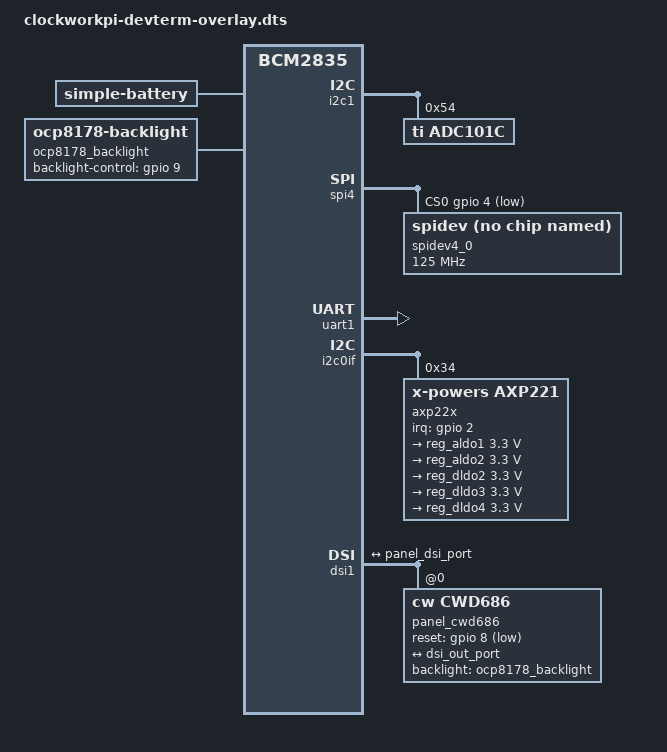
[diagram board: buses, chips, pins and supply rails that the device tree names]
/dts-v1/;
/plugin/;

/{
	compatible = "brcm,bcm2835";

	fragment@0 {
		target = <&i2c1>;
		__overlay__ {
			#address-cells = <1>;
			#size-cells = <0>;
			pinctrl-names = "default";
			pinctrl-0 = <&i2c1_pins>;
			status = "okay";

			adc101c: adc@54 {
				reg = <0x54>;
				compatible = "ti,adc101c";
				status = "okay";
			};
		};
	};

	fragment@1 {
		target = <&spi4>;
		__overlay__ {
			pinctrl-names = "default";
			pinctrl-0 = <&spi4_pins &spi4_cs_pins>;
			cs-gpios = <&gpio 4 1>;
			status = "okay";

			spidev4_0: spidev@0 {
				compatible = "spidev";
				reg = <0>;      /* CE0 */
				#address-cells = <1>;
				#size-cells = <0>;
				spi-max-frequency = <125000000>;
				status = "okay";
			};
		};
	};

	fragment@2 {
		target = <&uart1>;
		__overlay__ {
			pinctrl-names = "default";
			pinctrl-0 = <&uart1_pins>;
			status = "okay";
		};
	};

	fragment@3 {
		target = <&gpio>;
		__overlay__ {

			i2c1_pins: i2c1 {
				brcm,pins = <44 45>;
				brcm,function = <6>;
			};

			spi4_pins: spi4_pins {
				brcm,pins = <6 7>;
				brcm,function = <7>;
			};

			spi4_cs_pins: spi0_cs_pins {
				brcm,pins = <4>;
				brcm,function = <1>;
			};

			uart1_pins: uart1_pins {
				brcm,pins = <14 15>;
				brcm,function = <2>;
				brcm,pull = <0 2>;
			};

		};
	};

	fragment@4 {
		target-path = "/chosen";
		__overlay__ {
			bootargs = "8250.nr_uarts=1";
		};
	};
	
	fragment@5 {
		target = <&pcie0>;
		__overlay__ {
			status = "disabled";
		};
	};

	fragment@6 {
		target = <&genet>;
		__overlay__ {
			status = "disabled";
		};
	};

	fragment@7 {
		target = <&i2c0if>;
		__overlay__ {
			#address-cells = <1>;
			#size-cells = <0>;
			pinctrl-0 = <&i2c0_pins>;
			pinctrl-names = "default";
			status = "okay";

			axp22x: pmic@34 {
				interrupt-controller;
				#interrupt-cells = <1>;
				compatible = "x-powers,axp221";
				reg = <0x34>; /* i2c address */
				interrupt-parent = <&gpio>;
				interrupts = <2 8>;  /* IRQ_TYPE_EDGE_FALLING */
				irq-gpios = <&gpio 2 0>;

				regulators {

					x-powers,dcdc-freq = <3000>;

					reg_aldo1: aldo1 {
						regulator-always-on;
						regulator-min-microvolt = <3300000>;
						regulator-max-microvolt = <3300000>;
						regulator-name = "audio-vdd";
					};

					reg_aldo2: aldo2 {
						regulator-always-on;
						regulator-min-microvolt = <3300000>;
						regulator-max-microvolt = <3300000>;
						regulator-name = "display-vcc";
					};

					reg_dldo2: dldo2 {
						regulator-always-on;
						regulator-min-microvolt = <3300000>;
						regulator-max-microvolt = <3300000>;
						regulator-name = "dldo2";
					};

					reg_dldo3: dldo3 {
						regulator-always-on;
						regulator-min-microvolt = <3300000>;
						regulator-max-microvolt = <3300000>;
						regulator-name = "dldo3";
					};

					reg_dldo4: dldo4 {
						regulator-always-on;
						regulator-min-microvolt = <3300000>;
						regulator-max-microvolt = <3300000>;
						regulator-name = "dldo4";
					};

				};

				battery_power_supply: battery-power-supply {
					compatible = "x-powers,axp221-battery-power-supply";
					monitored-battery = <&battery>;
				};

				ac_power_supply: ac_power_supply {
					compatible = "x-powers,axp221-ac-power-supply";
				};

			};
		};
	};

	fragment@8 {
		target = <&i2c0if>;
		__overlay__ {
			compatible = "brcm,bcm2708-i2c";
		};
	};

	fragment@9 {
		target-path = "/aliases";
		__overlay__ {
			i2c0 = "/soc/i2c@7e205000";
		};
	};

	fragment@10 {
		target-path = "/";
		__overlay__  {
			battery: battery@0 {
				compatible = "simple-battery";
				device-chemistry = "lithium-ion";
				constant-charge-current-max-microamp = <2100000>;
				voltage-max-design-microvolt = <4200000>;
				re-charge-voltage-microvolt = <4000000>;
				// adjust the following params according to your battery specs
				voltage-min-design-microvolt = <3300000>;
				energy-full-design-microwatt-hours = <24790000>; // 2x3350mAh * 3.7v
				charge-full-design-microamp-hours = <6700000>; // 2x3350mAh
			};
		};
	};

	fragment@11 {
		target=<&dsi1>;
		__overlay__ {
			#address-cells = <1>;
			#size-cells = <0>;
			status = "okay";

			port {
				dsi_out_port: endpoint {
					remote-endpoint = <&panel_dsi_port>;
				};
			};

			panel_cwd686: panel@0 {
				compatible = "cw,cwd686";
				reg = <0>;
				reset-gpio = <&gpio 8 1>;
				backlight = <&ocp8178_backlight>;
				rotation = <90>;

				port {
					panel_dsi_port: endpoint {
						remote-endpoint = <&dsi_out_port>;
					};
				};
			};
		};
	};

	fragment@12 {
		target-path = "/";
		__overlay__  {
			ocp8178_backlight: backlight@0 {
				compatible = "ocp8178-backlight";
				backlight-control-gpios = <&gpio 9 0>;
				default-brightness = <5>;
			};
		};
	};

};

